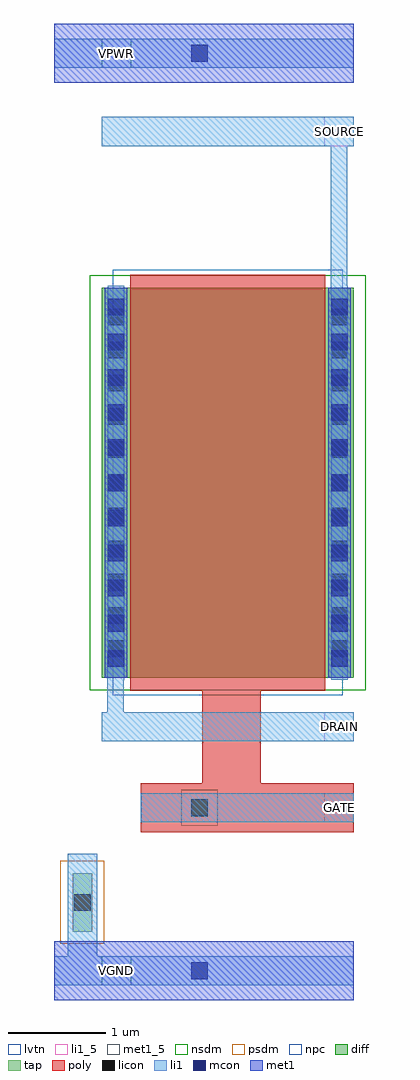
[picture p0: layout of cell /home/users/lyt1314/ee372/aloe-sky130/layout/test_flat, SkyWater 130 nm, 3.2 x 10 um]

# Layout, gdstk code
import gdstk
lib = gdstk.Library(unit=1e-6, precision=1e-09)
def R(c, l, rs):  # rectangles x0, y0, x1, y1
    for r in rs: c.add(gdstk.rectangle(r[:2], r[2:], *l))
def A(c, l, x, y, w, h, nx, ny, dx, dy):  # array of equal rectangles
    R(c, l, [(x+i*dx, y+j*dy, x+i*dx+w, y+j*dy+h) for i in range(nx) for j in range(ny)])
diff = (65, 20)
tap = (65, 44)
poly = (66, 20)
licon = (66, 44)
li1_5 = (67, 5)
li1 = (67, 20)
mcon = (67, 44)
met1_5 = (68, 5)
met1 = (68, 20)
nsdm = (93, 44)
psdm = (94, 20)
npc = (95, 20)
lvtn = (125, 44)

c__home_users_lyt1314_ee37 = lib.new_cell('/home/users/lyt1314/ee372/aloe-sky130/layout/test_flat')
R(c__home_users_lyt1314_ee37, diff, [(-1.29,-2,1.29,2)])
R(c__home_users_lyt1314_ee37, tap, [(-1.59,-4.6,-1.39,-4)])
R(c__home_users_lyt1314_ee37, poly, [(-0.89,-3.58,1.29,-3.08), (-0.26,-3.08,0.34,-2.13), (-1,-2.13,1,2.13)])
A(c__home_users_lyt1314_ee37, licon, -1.23, -1.785, 0.17, 0.17, 1, 11, 0, 0.34)
A(c__home_users_lyt1314_ee37, licon, 1.06, -1.785, 0.17, 0.17, 1, 11, 0, 0.34)
R(c__home_users_lyt1314_ee37, licon, [(-1.575,-4.385,-1.405,-4.215), (-0.375,-3.415,-0.205,-3.245)])
R(c__home_users_lyt1314_ee37, li1_5, [(0.99,-3.48,1.29,-3.18), (0.99,-2.65,1.29,-2.35), (0.99,3.45,1.29,3.75)])
R(c__home_users_lyt1314_ee37, li1, [(-1.78,-5.15,1.29,-4.85), (-1.64,-4.85,-1.34,-3.8), (-0.89,-3.48,1.29,-3.18), (-1.29,-2.65,1.29,-2.35), (-1.235,-2.35,-1.065,-2.02), (-1.235,-2.02,-1.06,-1.73), (1.06,-2.02,1.23,1.93), (-1.23,-1.73,-1.06,2.02), (1.055,1.93,1.23,2.02), (1.055,2.02,1.225,3.45), (-1.29,3.45,1.29,3.75), (-1.78,4.25,1.29,4.55)])
A(c__home_users_lyt1314_ee37, mcon, -1.23, -1.885, 0.17, 0.17, 1, 11, 0, 0.36)
A(c__home_users_lyt1314_ee37, mcon, 1.06, -1.885, 0.17, 0.17, 1, 11, 0, 0.36)
R(c__home_users_lyt1314_ee37, mcon, [(-0.375,-5.085,-0.205,-4.915), (-0.375,4.315,-0.205,4.485)])
R(c__home_users_lyt1314_ee37, met1_5, [(-1.29,-5.15,-0.99,-4.85), (-1.29,4.25,-0.99,4.55)])
R(c__home_users_lyt1314_ee37, met1, [(-1.78,-5.3,1.29,-4.7), (-1.26,-2,-1.03,2), (1.03,-2,1.26,2), (-1.78,4.1,1.29,4.7)])
R(c__home_users_lyt1314_ee37, nsdm, [(-1.415,-2.125,1.415,2.125)])
R(c__home_users_lyt1314_ee37, psdm, [(-1.715,-4.725,-1.265,-3.875)])
R(c__home_users_lyt1314_ee37, npc, [(-0.475,-3.515,-0.105,-3.145)])
R(c__home_users_lyt1314_ee37, lvtn, [(-1.18,-2.18,1.18,2.18)])
c__home_users_lyt1314_ee37.add(gdstk.Label('VPWR', (-1.14,4.4), layer=68, texttype=5))
c__home_users_lyt1314_ee37.add(gdstk.Label('VGND', (-1.14,-5), layer=68, texttype=5))
c__home_users_lyt1314_ee37.add(gdstk.Label('SOURCE', (1.14,3.6), layer=67, texttype=5))
c__home_users_lyt1314_ee37.add(gdstk.Label('DRAIN', (1.14,-2.5), layer=67, texttype=5))
c__home_users_lyt1314_ee37.add(gdstk.Label('GATE', (1.14,-3.33), layer=67, texttype=5))

lib.write_gds('_home_users_lyt1314_ee372_aloe-sky130_layout_test_flat.gds')
